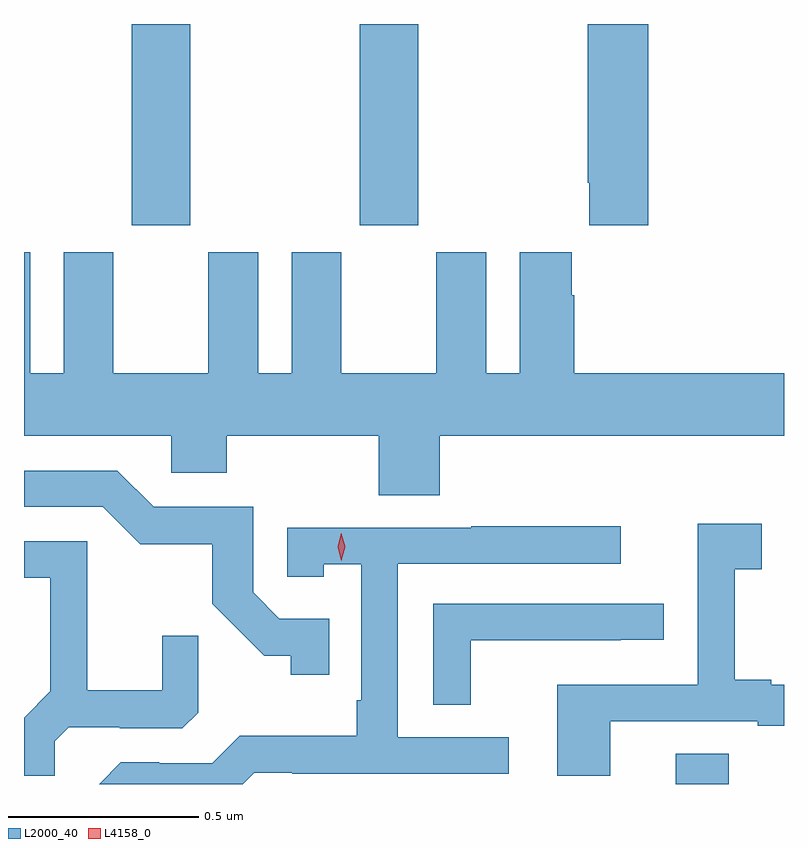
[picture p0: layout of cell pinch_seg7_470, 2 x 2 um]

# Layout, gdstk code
import gdstk
lib = gdstk.Library(unit=1e-6, precision=1e-09)
def R(c, l, rs):  # rectangles x0, y0, x1, y1
    for r in rs: c.add(gdstk.rectangle(r[:2], r[2:], *l))
def P(c, l, *ps):  # polygons
    for p in ps: c.add(gdstk.Polygon(p, *l))
L2000_40 = (2000, 40)
L4158_0 = (4158, 0)

pinch_seg7_470 = lib.new_cell('pinch_seg7_470')
R(pinch_seg7_470, L2000_40, [(294.095,1060.971,294.235,1061.051), (292.663,1062.441,292.818,1062.971), (293.263,1062.441,293.418,1062.971)])
P(pinch_seg7_470, L2000_40, [(294.023,1062.971),(293.863,1062.971),(293.863,1062.553),(293.867,1062.553),(293.867,1062.441),(294.023,1062.441)],
  [(293.474,1061.888),(294.38,1061.888),(294.38,1062.052),(293.828,1062.052),(293.828,1062.257),(293.821,1062.257),(293.821,1062.37),(293.684,1062.37),(293.684,1062.052),(293.596,1062.052),(293.596,1062.37),(293.465,1062.37),(293.465,1062.052),(293.215,1062.052),(293.215,1062.37),(293.084,1062.37),(293.084,1062.052),(292.996,1062.052),(292.996,1062.37),(292.865,1062.37),(292.865,1062.052),(292.615,1062.052),(292.615,1062.37),(292.484,1062.37),(292.484,1062.052),(292.396,1062.052),(292.396,1062.37),(292.38,1062.37),(292.38,1061.888),(292.767,1061.888),(292.767,1061.79),(292.914,1061.79),(292.914,1061.888),(293.314,1061.888),(293.314,1061.731),(293.474,1061.731)],
  [(293.183,1061.406),(293.052,1061.406),(292.983,1061.475),(292.983,1061.7),(292.722,1061.7),(292.626,1061.796),(292.38,1061.796),(292.38,1061.7),(292.587,1061.7),(292.686,1061.602),(292.875,1061.602),(292.875,1061.446),(293.012,1061.309),(293.082,1061.309),(293.082,1061.259),(293.183,1061.259)],
  [(293.923,1061.136),(294.311,1061.136),(294.311,1061.124),(294.38,1061.124),(294.38,1061.232),(294.346,1061.232),(294.346,1061.245),(294.25,1061.245),(294.25,1061.536),(294.322,1061.536),(294.322,1061.656),(294.153,1061.656),(294.153,1061.232),(293.783,1061.232),(293.783,1060.993),(293.923,1060.993)],
  [(292.986,1061.001),(293.086,1061.001),(293.086,1060.998),(293.656,1060.998),(293.656,1061.094),(293.364,1061.094),(293.364,1061.55),(293.95,1061.55),(293.95,1061.649),(293.557,1061.649),(293.557,1061.646),(293.073,1061.646),(293.073,1061.517),(293.169,1061.517),(293.169,1061.549),(293.268,1061.549),(293.268,1061.191),(293.256,1061.191),(293.256,1061.098),(292.948,1061.098),(292.875,1061.025),(292.736,1061.025),(292.736,1061.028),(292.635,1061.028),(292.578,1060.971),(292.956,1060.971)],
  [(292.461,1061.084),(292.498,1061.121),(292.632,1061.121),(292.632,1061.118),(292.797,1061.118),(292.838,1061.159),(292.838,1061.361),(292.744,1061.361),(292.744,1061.218),(292.547,1061.218),(292.547,1061.61),(292.38,1061.61),(292.38,1061.514),(292.449,1061.514),(292.449,1061.215),(292.38,1061.146),(292.38,1060.993),(292.461,1060.993)],
  [(293.556,1061.349),(293.951,1061.349),(293.951,1061.35),(294.064,1061.35),(294.064,1061.445),(293.457,1061.445),(293.457,1061.179),(293.556,1061.179)])
P(pinch_seg7_470, L4158_0, [(293.215,1061.559),(293.215,1061.559),(293.205,1061.595),(293.215,1061.631),(293.215,1061.631),(293.215,1061.631),(293.225,1061.595),(293.215,1061.559)])

lib.write_gds('pinch_seg7_470.gds')
